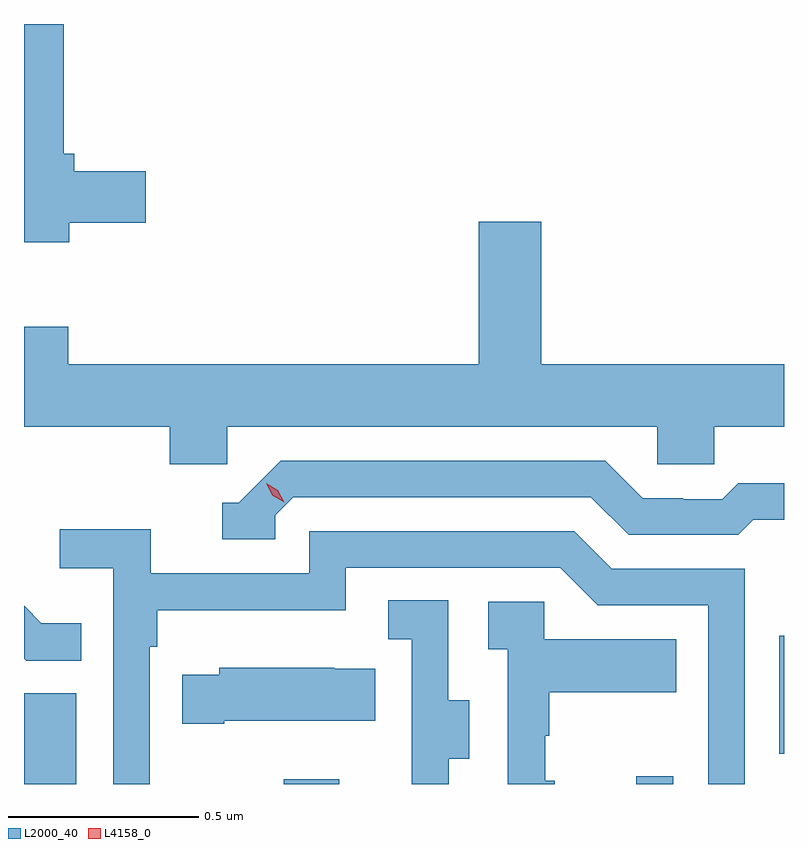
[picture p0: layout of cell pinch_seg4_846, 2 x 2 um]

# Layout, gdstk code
import gdstk
lib = gdstk.Library(unit=1e-6, precision=1e-09)
def R(c, l, rs):  # rectangles x0, y0, x1, y1
    for r in rs: c.add(gdstk.rectangle(r[:2], r[2:], *l))
def P(c, l, *ps):  # polygons
    for p in ps: c.add(gdstk.Polygon(p, *l))
L2000_40 = (2000, 40)
L4158_0 = (4158, 0)

pinch_seg4_846 = lib.new_cell('pinch_seg4_846')
R(pinch_seg4_846, L2000_40, [(883.091,809.2,883.228,809.439), (883.774,809.2,883.921,809.212), (884.702,809.2,884.799,809.221), (885.078,809.28,885.091,809.59)])
P(pinch_seg4_846, L2000_40, [(883.21,810.677),(883.411,810.677),(883.411,810.812),(883.223,810.812),(883.223,810.859),(883.196,810.859),(883.196,811.2),(883.091,811.2),(883.091,810.626),(883.21,810.626)],
  [(883.626,810.14),(884.757,810.14),(884.757,810.042),(884.907,810.042),(884.907,810.14),(885.091,810.14),(885.091,810.304),(884.452,810.304),(884.452,810.679),(884.288,810.679),(884.288,810.304),(883.208,810.304),(883.208,810.403),(883.091,810.403),(883.091,810.14),(883.475,810.14),(883.475,810.042),(883.626,810.042)],
  [(883.752,809.907),(883.8,809.955),(884.583,809.955),(884.682,809.856),(884.971,809.856),(885.01,809.895),(885.091,809.895),(885.091,809.992),(884.971,809.992),(884.929,809.949),(884.826,809.949),(884.826,809.952),(884.719,809.952),(884.62,810.051),(883.767,810.051),(883.656,809.94),(883.613,809.94),(883.613,809.844),(883.752,809.844)],
  [(883.422,809.561),(883.442,809.561),(883.442,809.657),(883.938,809.657),(883.938,809.769),(884.502,809.769),(884.601,809.67),(884.892,809.67),(884.892,809.2),(884.988,809.2),(884.988,809.766),(884.638,809.766),(884.539,809.865),(883.842,809.865),(883.842,809.754),(883.424,809.754),(883.424,809.87),(883.185,809.87),(883.185,809.768),(883.326,809.768),(883.326,809.2),(883.422,809.2)],
  [(884.209,809.266),(884.263,809.266),(884.263,809.421),(884.208,809.421),(884.208,809.684),(884.049,809.684),(884.049,809.581),(884.112,809.581),(884.112,809.277),(884.111,809.277),(884.111,809.2),(884.209,809.2)],
  [(884.488,809.208),(884.463,809.208),(884.463,809.327),(884.473,809.327),(884.473,809.441),(884.807,809.441),(884.807,809.581),(884.46,809.581),(884.46,809.679),(884.313,809.679),(884.313,809.555),(884.364,809.555),(884.364,809.2),(884.488,809.2)],
  [(883.241,809.623),(883.137,809.623),(883.091,809.669),(883.091,809.53),(883.097,809.524),(883.241,809.524)],
  [(883.618,809.366),(884.015,809.366),(884.015,809.503),(883.907,809.503),(883.907,809.506),(883.605,809.506),(883.605,809.488),(883.507,809.488),(883.507,809.359),(883.618,809.359)])
P(pinch_seg4_846, L4158_0, [(883.776,809.941),(883.744,809.96),(883.728,809.992),(883.728,809.992),(883.728,809.992),(883.759,809.973),(883.776,809.941),(883.776,809.941)])

lib.write_gds('pinch_seg4_846.gds')
